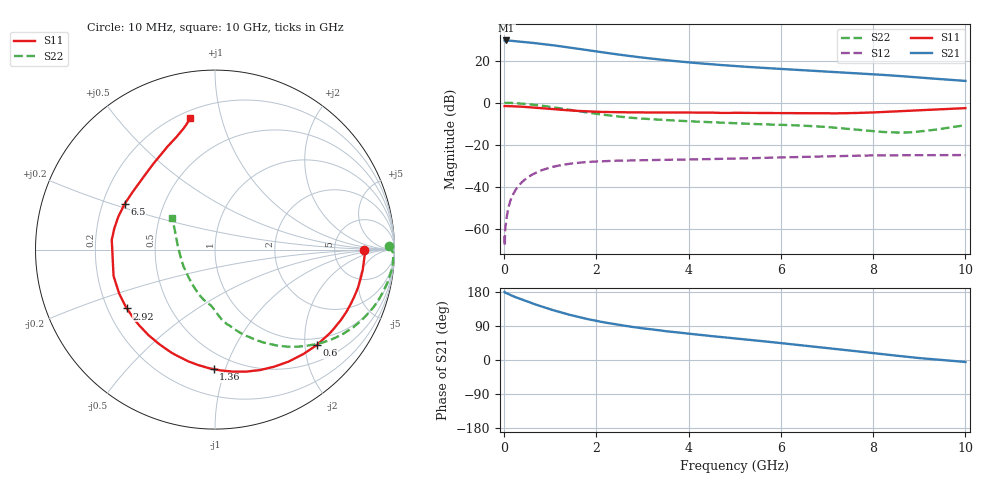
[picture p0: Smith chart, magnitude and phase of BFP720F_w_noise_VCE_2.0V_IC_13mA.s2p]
! Infineon Technologies  Discrete & RF Semiconductors
! BFP720F
! VCE =  2.0 V,  IC =  13 mA
! Common Emitter S-Parameters:  Jan 2016
# GHz  S  MA  R  50
!  f  S11  S21  S12  S22
! GHz  MAG  ANG  MAG  ANG  MAG  ANG  MAG  ANG
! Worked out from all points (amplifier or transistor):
!   233 points, 10 MHz to 10 GHz, reference 50 ohm
!   highest |S21| = 29.5 dB at 50 MHz (marker M1)
!   |S21| within 3 dB of that: start of sweep to 1.305 GHz
!   unconditionally stable (mu >= 1): start of sweep to 14.57 MHz; 6.401 GHz to end of sweep
!   at 200 MHz: K = 0.07, MSG = 36.2 dB, |S12| = -43.2 dB
!   at 1.74 GHz: K = 0.35, MSG = 26.7 dB, |S12| = -28.2 dB
!   at 10 GHz: K = 1.25, MAG = 14.6 dB, |S12| = -24.8 dB
!   lowest NFmin = 0.64 dB at 450 MHz
!   S11 on the Smith chart (normalised r, x): 10 MHz: 11, -0; 600 MHz: 0.84, -2.26; 1.36 GHz: 0.38, -0.91; 2.92 GHz: 0.28, -0.28; 6.5 GHz: 0.29, +0.22; 10 GHz: 0.24, +0.80
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0.01  0.8303 -0.3  29.85 179.5  0.0007 -19.1  0.9699 1.3
0.015  0.8331 -0.8  29.77 178.4  0.0004 54.7  0.9813 0.1
0.02  0.836 -1.3  29.69 177.3  0.0009 103.0  0.9931 -1.1
0.05  0.8322 -3.8  29.88 176.6  0.0017 94.8  0.9937 -2.0
0.24  0.8203 -17.7  28.7 166.1  0.0083 80.5  0.9789 -10.6
0.45  0.7972 -32.5  27.26 156.4  0.0151 72.6  0.9419 -19.5
0.6  0.7775 -43.2  26.35 150.0  0.0196 67.0  0.9074 -25.7
0.8  0.7464 -56.8  25 141.6  0.0249 60.1  0.8562 -33.1
0.96  0.7211 -67.0  23.75 135.3  0.0284 55.1  0.8097 -38.7
1.36  0.6657 -90.7  20.74 121.2  0.035 44.4  0.6958 -51.1
1.68  0.6325 -107.2  18.49 111.5  0.0384 37.7  0.6134 -59.3
1.94  0.6138 -118.4  16.79 104.6  0.0402 33.3  0.5575 -65.0
2.2  0.6038 -127.8  15.28 98.6  0.0415 29.7  0.5117 -70.0
2.6  0.5947 -139.3  13.31 90.4  0.0426 25.4  0.457 -76.2
2.92  0.5898 -146.2  12.02 85.0  0.0433 23.4  0.4265 -79.9
3.4  0.5873 -153.7  10.49 77.8  0.0442 20.8  0.3946 -84.0
4  0.584 -160.9  9.032 69.4  0.0453 18.7  0.3638 -87.3
5.1  0.5762 173.3  7.282 55.8  0.0479 16.3  0.3242 -92.2
6.5  0.564 153.2  5.893 38.1  0.0522 13.0  0.2862 -102.8
6.8  0.5601 148.1  5.637 34.3  0.0531 12.1  0.2738 -106.7
8.4  0.6171 118.0  4.429 12.8  0.057 6.1  0.1986 -152.0
10  0.7446 100.6  3.289 -5.3  0.0576 1.7  0.2949 143.8
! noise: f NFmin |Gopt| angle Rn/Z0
0.45  0.64  0.27  2  0.64
0.9  0.67  0.23  8  0.14
1.8  0.7  0.21  11  0.15
2.4  0.72  0.18  18  0.13
5.5  0.88  0.15  30  0.08
10  1.04  0.3  -88  0.19
